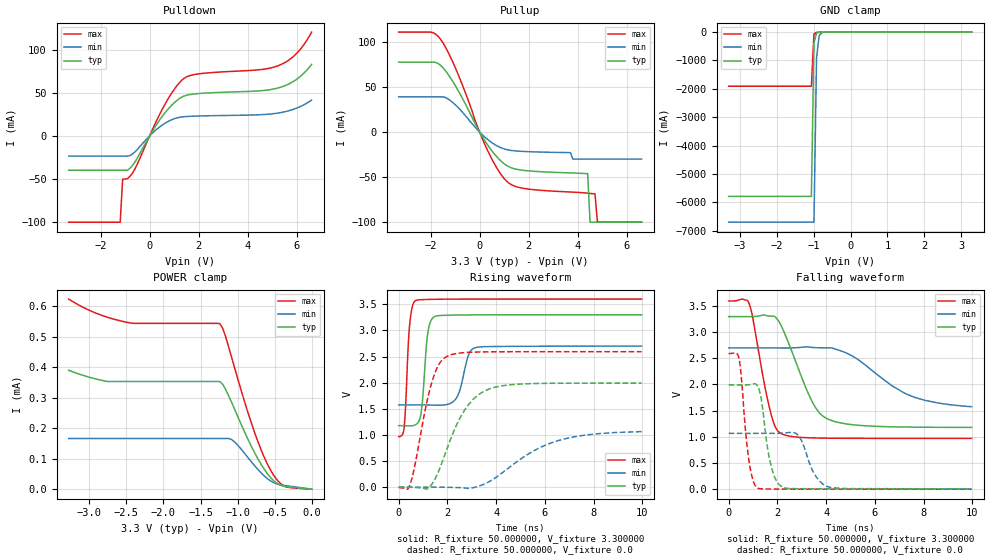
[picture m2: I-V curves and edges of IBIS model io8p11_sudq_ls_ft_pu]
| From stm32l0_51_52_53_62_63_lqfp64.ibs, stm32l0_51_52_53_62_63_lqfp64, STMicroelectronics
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|   Model io8p11_sudq_ls_ft_pu
[Model]  io8p11_sudq_ls_ft_pu
Model_type I/O
Polarity   Non-Inverting
Enable   Active-Low
Vinl =   0.990000V
Vinh =   2.310000V
Vmeas =  1.650000V
Cref =   50.000000pF
Rref =   100.000000M
Vref =   0.0V
C_comp   2.343000pF   2.309800pF   2.393900pF
[Temperature Range]   25.000000   0.125000k   -40.000000
[Pullup Reference]   3.300000V   2.700000V   3.600000V
[Pulldown Reference]   0.0V   0.0V   0.0V
[POWER Clamp Reference]   3.300000V   2.700000V   3.600000V
[GND Clamp Reference]   0.0V   0.0V   0.0V
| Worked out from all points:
|   slope of the pulldown table from 0 to 0.495 V, typ, clamps not added: 22.6 ohm
|   slope of the pullup table from 0 to 0.495 V, typ, clamps not added: 23.9 ohm
|   GND clamp passes 1 mA (typ) near -0.64 V on its own axis
|   rising waveform, R_fixture 50.000000, V_fixture 3.300000: 20-80 % time 209ps typ, 361ps min, 167ps max; typ from 1.18 V to 3.3 V
|   rising waveform, R_fixture 50.000000, V_fixture 0.0: 20-80 % time 1.17ns typ, 2.21ns min, 698ps max; typ from 0.001 V to 1.99 V
|   falling waveform, R_fixture 50.000000, V_fixture 3.300000: 20-80 % time 1.12ns typ, 2.07ns min, 641ps max; typ from 3.3 V to 1.18 V
|   falling waveform, R_fixture 50.000000, V_fixture 0.0: 20-80 % time 388ps typ, 564ps min, 310ps max; typ from 1.99 V to 0.001 V
[Pulldown]
|Voltage   I(typ)   I(min)   I(max)
-3.3V     -39.8mA    -23.38mA   -100mA
-1.2V     -39.8mA    -23.38mA   -100mA
-1.1V     -39.8mA    -23.38mA   -50.11mA
-900mV    -39.8mA    -23.38mA   -49.43mA
-700mV    -34.25mA   -21mA      -43.13mA
600mV     25.84mA    14.18mA    35.34mA
1V        38.32mA    19.82mA    53.81mA
1.4V      46.09mA    22.19mA    66.63mA
2V        49.05mA    23.02mA    71.83mA
5.2V      55.23mA    26.32mA    80.92mA
6V        65.77mA    32.26mA    95.84mA
6.6V      82.81mA    41.44mA    120.2mA
[Pullup]
|Voltage   I(typ)   I(min)   I(max)
-3.3V     77.64mA    39.15mA    111mA
-2V       77.64mA    39.15mA    111mA
-1.6V     74.25mA    39.15mA    103.3mA
-900mV    47.24mA    27.86mA    65.53mA
300mV     -13.29mA   -7.65mA    -18.99mA
1.2V      -38.62mA   -20mA      -56.79mA
3.7V      -45.29mA   -22.8mA    -66.51mA
4.4V      -46.01mA   -30mA      -67.77mA
4.5V      -100mA     -30mA      -68.06mA
4.7V      -100mA     -30mA      -68.41mA
4.8V      -100mA     -30mA      -100mA
6.6V      -100mA     -30mA      -100mA
[GND_clamp]
|Voltage   I(typ)   I(min)   I(max)
-3.3V     -5.787A    -6.696A    -1.906A
-1.06V    -5.787A    -6.696A    -1.906A
-990mV    -393.4mA   -6.696A    -70.75mA
-920mV    -33.02mA   -919.4mA   -10.9mA
-850mV    -6.829mA   -131.3mA   -6.521mA
-780mV    -3.478mA   -21.06mA   -4.208mA
3.28V     0A         0A         0A
[POWER_clamp]
|Voltage   I(typ)   I(min)   I(max)
-3.28V    390.5uA    166.4uA    624.1uA
-2.76V    353.6uA    166.4uA    564.6uA
-2.44V    353.6uA    166.4uA    545.3uA
-1.24V    353.6uA    166.4uA    543.5uA
-1.2V     344.2uA    166.4uA    528.2uA
-1.16V    327.1uA    166.4uA    499.5uA
-1.04V    262.6uA    155.2uA    398.8uA
-760mV    115.1uA    74.4uA     179.3uA
-560mV    39.86uA    27.94uA    65.07uA
-440mV    15uA       15.53uA    23.15uA
-360mV    8.745uA    12.05uA    9.089uA
0V        0A         0A         0A
[Ramp]
| variable   typ   min   max
dV/dt_r  1.19462/1.17303n   0.61247/2.09049n   1.55541/0.69549n
dV/dt_f  1.27146/1.11827n   0.59124/1.83665n   1.57744/0.63930n
R_load = 50.000000
[Rising Waveform]
R_fixture= 50.000000
V_fixture= 3.300000
V_fixture_min= 2.700000
V_fixture_max= 3.600000
|time   V(typ)   V(min)   V(max)
0s        1.178V     1.575V     967.9mV
220.2ps   1.177V     1.575V     1.13V
440.4ps   1.174V     1.575V     3.055V
700.7ps   1.198V     1.575V     3.572V
940.9ps   1.496V     1.575V     3.589V
1.221ns   3.023V     1.573V     3.593V
1.481ns   3.267V     1.571V     3.595V
2.362ns   3.294V     1.701V     3.599V
3.123ns   3.298V     2.666V     3.6V
9.97ns    3.3V       2.7V       3.6V
[Rising Waveform]
R_fixture= 50.000000
V_fixture= 0.0
V_fixture_min= 0.0
V_fixture_max= 0.0
|time   V(typ)   V(min)   V(max)
0s        1.228mV    1.825mV    -5.004mV
460.5ps   320.4uV    1.809mV    45.06mV
1.341ns   45.31mV    1.995mV    1.977V
1.642ns   310.2mV    1.629mV    2.342V
1.962ns   707.7mV    -435.1uV   2.499V
2.422ns   1.237V     -6.561mV   2.562V
2.843ns   1.567V     -20.6mV    2.58V
3.744ns   1.883V     114.2mV    2.59V
6.326ns   1.989V     859.2mV    2.593V
9.97ns    1.993V     1.064V     2.593V
[Falling Waveform]
R_fixture= 50.000000
V_fixture= 3.300000
V_fixture_min= 2.700000
V_fixture_max= 3.600000
|time   V(typ)   V(min)   V(max)
0s        3.3V       2.7V       3.6V
840.8ps   3.299V     2.7V       3.545V
1.682ns   3.311V     2.7V       1.54V
1.902ns   3.298V     2.7V       1.2V
2.142ns   3.139V     2.7V       1.064V
3.343ns   1.751V     2.715V     978.4mV
3.984ns   1.358V     2.702V     972.2mV
5.045ns   1.232V     2.554V     969.1mV
7.628ns   1.183V     1.754V     968mV
9.97ns    1.178V     1.575V     967.9mV
[Falling Waveform]
R_fixture= 50.000000
V_fixture= 0.0
V_fixture_min= 0.0
V_fixture_max= 0.0
|time   V(typ)   V(min)   V(max)
0s        1.993V     1.064V     2.593V
420.4ps   1.992V     1.064V     2.506V
820.8ps   1.995V     1.064V     580.8mV
1.181ns   1.974V     1.064V     16.75mV
1.742ns   442.5mV    1.064V     -2.385mV
2.222ns   33.24mV    1.068V     -3.285mV
2.883ns   4.461mV    1.01V      -4.104mV
3.504ns   3.224mV    297.6mV    -4.555mV
4.004ns   2.633mV    51.89mV    -4.752mV
9.97ns    1.228mV    1.825mV    -5.004mV
